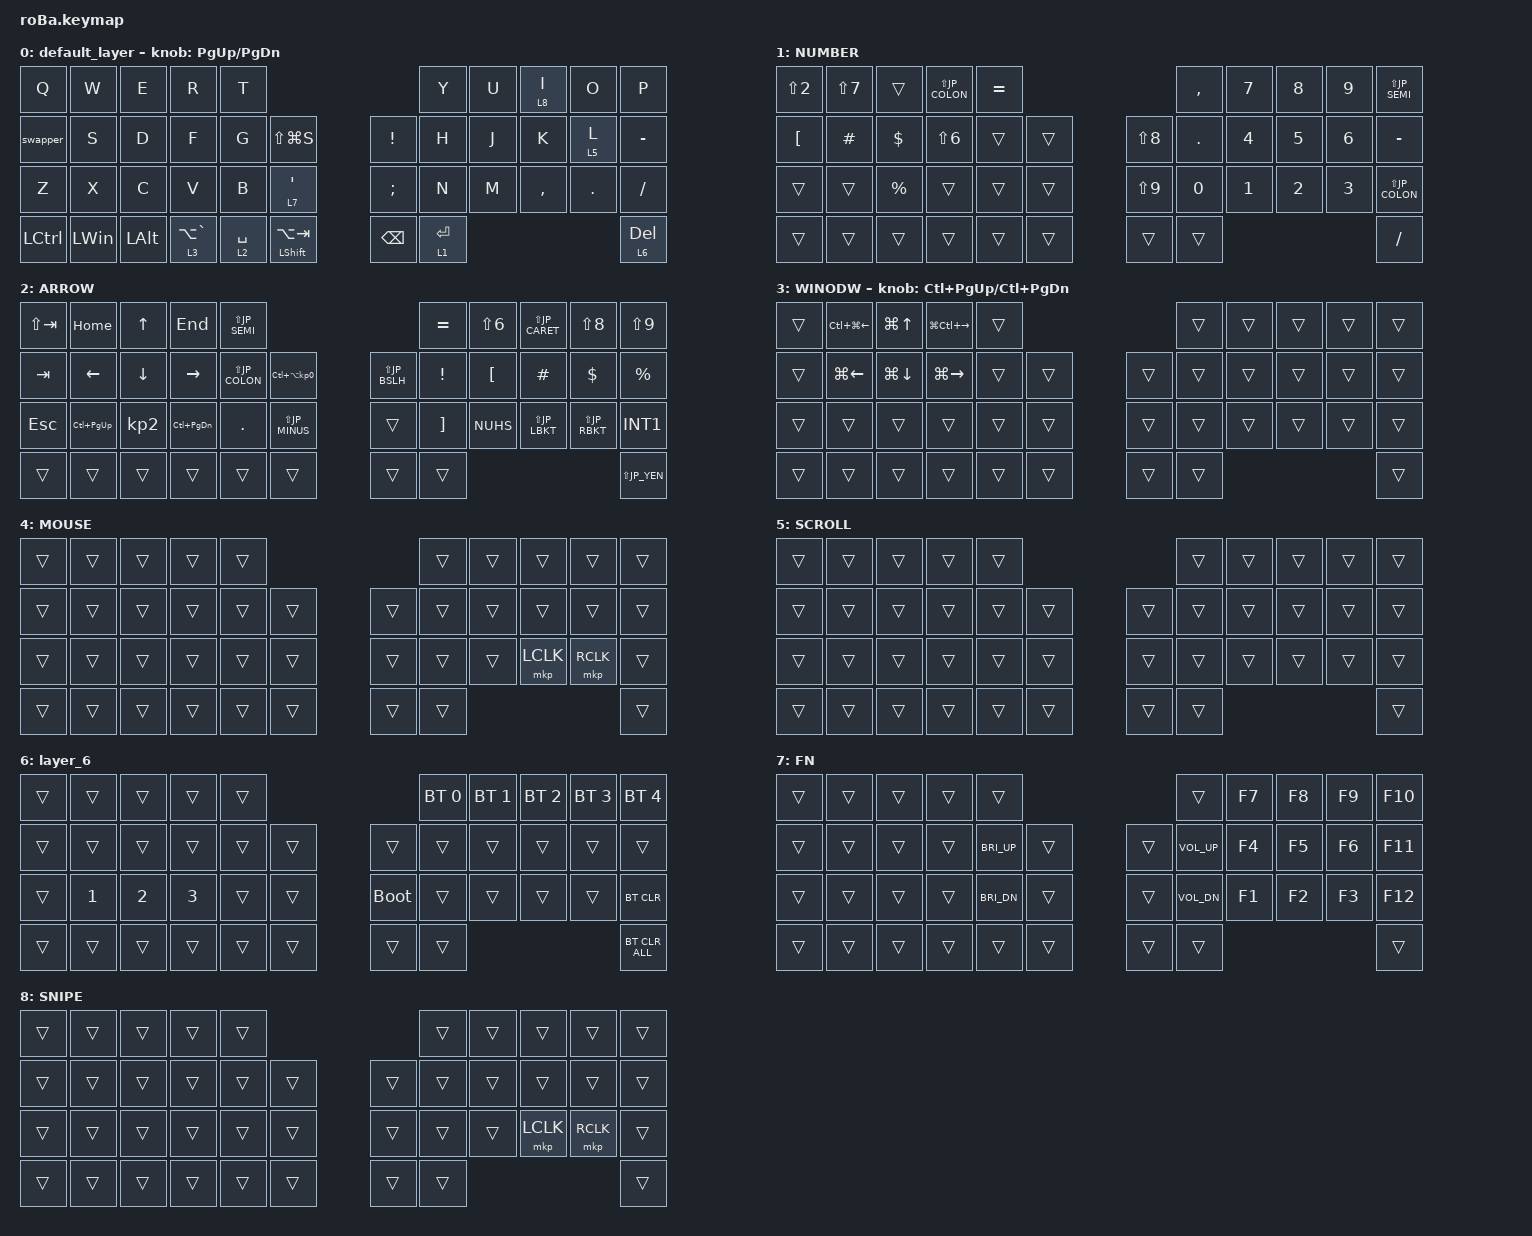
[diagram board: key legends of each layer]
#include <behaviors.dtsi>
#include <dt-bindings/zmk/bt.h>
#include <dt-bindings/zmk/keys.h>
#include <dt-bindings/zmk/pointing.h>
#include <dt-bindings/zmk/modifiers.h>

// JIS(日本語)配列の記号。OSをJIS設定のまま正しい記号を出すための対応。
// 出典: eswai/zmk_mable keycode_japanese.h（標準的なJIS↔HID対応）
#define JP_MINUS MINUS          // -
#define JP_CARET EQUAL          // ^
#define JP_YEN   INT3           // ¥
#define JP_AT    LBKT           // @
#define JP_LBKT  RBKT           // [
#define JP_SEMI  SEMI           // ;
#define JP_COLON SQT            // :
#define JP_RBKT  NUHS           // ]
#define JP_BSLH  INT1           // \ (backslash)
#define JP_DQT   LS(N2)         // "
#define JP_AMPS  LS(N6)         // &
#define JP_SQT   LS(N7)         // '
#define JP_LPAR  LS(N8)         // (
#define JP_RPAR  LS(N9)         // )
#define JP_EQUAL LS(JP_MINUS)   // =
#define JP_TILDE LS(JP_CARET)   // ~
#define JP_PIPE  LS(JP_YEN)     // |
#define JP_GRAVE LS(JP_AT)      // `
#define JP_LBRC  LS(JP_LBKT)    // {
#define JP_PLUS  LS(JP_SEMI)    // +
#define JP_ASTRK LS(JP_COLON)   // *
#define JP_RBRC  LS(JP_RBKT)    // }
#define JP_UNDER LS(JP_BSLH)    // _

&mt {
    flavor = "balanced";
    quick-tap-ms = <0>;
};

&trackball {
    automouse-layer = <4>;
    scroll-layers = <5>;
    snipe-layers = <8>;

    // arrows {
    //     layers = <3>;
    //     bindings =
    //         <&kp RIGHT_ARROW>,
    //         <&kp LEFT_ARROW>,
    //         <&kp UP_ARROW>,
    //         <&kp DOWN_ARROW>;
    //     tick = <10>;
    //     wait-ms = <5>;
    //     tap-ms = <5>;
    // };
};

/ {
    behaviors {
        // Alt+Tab スワッパー: 通常はA。Altが押されている間だけTab（Altは保持されるので連打で巡回）
        swapper: swapper {
            compatible = "zmk,behavior-mod-morph";
            #binding-cells = <0>;
            bindings = <&kp A>, <&kp TAB>;
            mods = <(MOD_LALT|MOD_RALT)>;
            keep-mods = <(MOD_LALT|MOD_RALT)>;
        };
    };

    keymap {
        compatible = "zmk,keymap";

        default_layer {
            bindings = <
&kp Q             &kp W         &kp E         &kp R                  &kp T                                                   &kp Y        &kp U  &lt 8 I    &kp O    &kp P
&swapper          &kp S         &kp D         &kp F                  &kp G        &kp LS(LG(S))               &kp EXCL       &kp H        &kp J  &kp K      &lt 5 L  &kp MINUS
&kp Z             &kp X         &kp C         &kp V                  &kp B        &lt 7 JP_COLON              &kp SEMICOLON  &kp N        &kp M  &kp COMMA  &kp DOT  &kp SLASH
&kp LCTRL         &kp LEFT_WIN  &kp LEFT_ALT  &lt 3 LA(GRAVE)        &lt 2 SPACE  &mt LSHFT LA(TAB)          &kp BACKSPACE  &lt 1 ENTER                             &lt 6 DEL
            >;

            sensor-bindings = <&inc_dec_kp PG_UP PAGE_DOWN>;
        };

        NUMBER {
            bindings = <
&kp JP_DQT  &kp JP_SQT  &trans  &kp JP_ASTRK  &kp JP_CARET                       &kp COMMA  &kp N7  &kp N8  &kp N9  &kp JP_PLUS
&kp JP_AT  &kp HASH  &kp DLLR  &kp JP_AMPS  &trans  &trans      &kp JP_LPAR  &kp DOT  &kp N4  &kp N5  &kp N6  &kp MINUS
&trans  &trans  &kp PRCNT  &trans  &trans  &trans      &kp JP_RPAR  &kp N0  &kp N1  &kp N2  &kp N3  &kp JP_ASTRK
&trans  &trans  &trans  &trans  &trans  &trans      &trans   &trans                          &kp SLASH
            >;
        };

        ARROW {
            bindings = <
&kp LS(TAB)  &kp HOME  &kp UP  &kp END  &kp JP_PLUS                                                   &kp JP_CARET         &kp JP_AMPS      &kp JP_TILDE       &kp JP_LPAR  &kp JP_RPAR
&kp TAB  &kp LEFT  &kp DOWN  &kp RIGHT  &kp JP_ASTRK  &kp LC(LA(KP_NUMBER_0))      &kp JP_UNDER  &kp EXCLAMATION   &kp JP_AT        &kp HASH        &kp DOLLAR            &kp PERCENT
&kp ESC  &kp LC(PG_UP)  &kp KP_NUMBER_2  &kp LC(PG_DN)  &kp PERIOD    &kp JP_EQUAL                 &trans          &kp JP_LBKT  &kp JP_RBKT  &kp JP_LBRC  &kp JP_RBRC       &kp JP_BSLH
&trans                      &trans           &trans           &trans           &trans        &trans                       &trans          &trans                                                                     &kp JP_PIPE
            >;
        };

        WINODW {
            bindings = <
&trans  &kp LC(LG(LEFT))  &kp LG(UP)  &kp LG(LC(RIGHT))  &trans                       &trans  &trans  &trans  &trans  &trans
&trans  &kp LG(LEFT)  &kp LG(DOWN)  &kp LG(RIGHT)  &trans  &trans      &trans  &trans  &trans  &trans  &trans  &trans
&trans  &trans  &trans  &trans  &trans  &trans      &trans  &trans  &trans  &trans  &trans  &trans
&trans          &trans                  &trans          &trans                   &trans   &trans      &trans  &trans                          &trans
            >;

            sensor-bindings = <&inc_dec_kp LC(PAGE_UP) LC(PAGE_DOWN)>;
        };

        MOUSE {
            bindings = <
&trans  &trans  &trans  &trans  &trans                      &trans  &trans    &trans    &trans    &trans
&trans  &trans  &trans  &trans  &trans  &trans      &trans  &trans  &trans  &trans  &trans  &trans
&trans  &trans  &trans  &trans  &trans  &trans      &trans  &trans  &trans  &mkp LCLK  &mkp RCLK  &trans
&trans  &trans  &trans  &trans  &trans  &trans      &trans  &trans                                &trans
            >;
        };

        SCROLL {
            bindings = <
&trans  &trans  &trans  &trans  &trans                      &trans  &trans  &trans  &trans  &trans
&trans  &trans  &trans  &trans  &trans  &trans      &trans  &trans  &trans  &trans  &trans  &trans
&trans  &trans  &trans  &trans  &trans  &trans      &trans  &trans  &trans  &trans  &trans  &trans
&trans  &trans  &trans  &trans  &trans  &trans      &trans  &trans                          &trans
            >;
        };

        layer_6 {
            bindings = <
&trans  &trans        &trans        &trans        &trans                           &bt BT_SEL 0  &bt BT_SEL 1  &bt BT_SEL 2  &bt BT_SEL 3  &bt BT_SEL 4
&trans  &trans        &trans        &trans        &trans  &trans      &trans       &trans        &trans        &trans        &trans        &trans
&trans  &kp NUMBER_1  &kp NUMBER_2  &kp NUMBER_3  &trans  &trans      &bootloader  &trans        &trans        &trans        &trans        &bt BT_CLR
&trans  &trans        &trans        &trans        &trans  &trans      &trans       &trans                                                  &bt BT_CLR_ALL
            >;
        };

        FN {
            bindings = <
&trans  &trans  &trans  &trans  &trans      &trans  &kp F7  &kp F8  &kp F9  &kp F10
&trans  &trans  &trans  &trans  &kp C_BRI_UP  &trans      &trans  &kp C_VOL_UP  &kp F4  &kp F5  &kp F6  &kp F11
&trans  &trans  &trans  &trans  &kp C_BRI_DN  &trans      &trans  &kp C_VOL_DN  &kp F1  &kp F2  &kp F3  &kp F12
&trans  &trans  &trans  &trans  &trans  &trans      &trans  &trans  &trans
            >;
        };

        SNIPE {
            bindings = <
&trans  &trans  &trans  &trans  &trans                      &trans  &trans  &trans  &trans  &trans
&trans  &trans  &trans  &trans  &trans  &trans      &trans  &trans  &trans  &trans  &trans  &trans
&trans  &trans  &trans  &trans  &trans  &trans      &trans  &trans  &trans  &mkp LCLK  &mkp RCLK  &trans
&trans  &trans  &trans  &trans  &trans  &trans      &trans  &trans                                &trans
            >;
        };
    };
};
